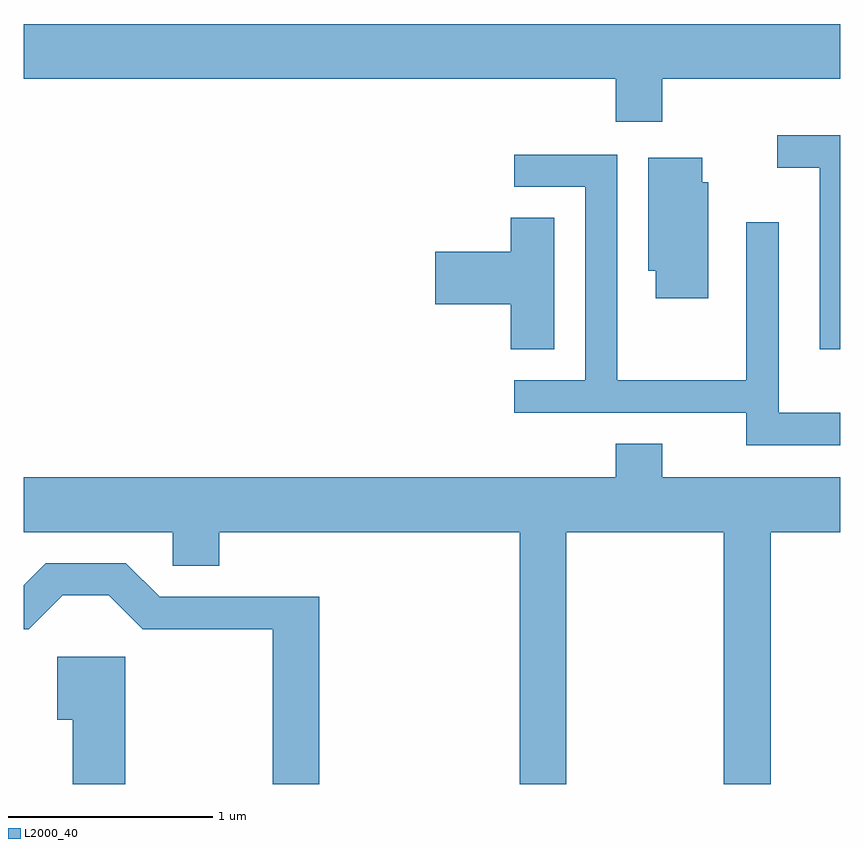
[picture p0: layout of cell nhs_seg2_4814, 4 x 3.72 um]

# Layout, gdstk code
import gdstk
lib = gdstk.Library(unit=1e-6, precision=1e-09)
def P(c, l, *ps):  # polygons
    for p in ps: c.add(gdstk.Polygon(p, *l))
L2000_40 = (2000, 40)

nhs_seg2_4814 = lib.new_cell('nhs_seg2_4814')
P(nhs_seg2_4814, L2000_40, [(330.739,997.256),(331.611,997.256),(331.611,997.524),(327.611,997.524),(327.611,997.256),(330.511,997.256),(330.511,997.046),(330.739,997.046)],
  [(331.611,996.979),(331.303,996.979),(331.303,996.821),(331.511,996.821),(331.511,995.931),(331.611,995.931)],
  [(331.611,995.619),(331.309,995.619),(331.309,996.553),(331.151,996.553),(331.151,995.779),(330.519,995.779),(330.519,996.884),(330.013,996.884),(330.013,996.726),(330.361,996.726),(330.361,995.779),(330.013,995.779),(330.013,995.621),(331.151,995.621),(331.151,995.461),(331.611,995.461)],
  [(330.964,996.749),(330.934,996.749),(330.934,996.869),(330.671,996.869),(330.671,996.316),(330.706,996.316),(330.706,996.181),(330.964,996.181)],
  [(330.209,996.574),(329.996,996.574),(329.996,996.409),(329.626,996.409),(329.626,996.151),(329.996,996.151),(329.996,995.931),(330.209,995.931)],
  [(330.269,995.036),(331.041,995.036),(331.041,993.802),(331.269,993.802),(331.269,995.036),(331.611,995.036),(331.611,995.304),(330.739,995.304),(330.739,995.469),(330.511,995.469),(330.511,995.304),(327.611,995.304),(327.611,995.036),(328.341,995.036),(328.341,994.871),(328.569,994.871),(328.569,995.036),(330.041,995.036),(330.041,993.802),(330.269,993.802)],
  [(329.059,994.719),(328.277,994.719),(328.112,994.884),(327.719,994.884),(327.611,994.776),(327.611,994.561),(327.637,994.561),(327.802,994.726),(328.029,994.726),(328.194,994.561),(328.831,994.561),(328.831,993.802),(329.059,993.802)],
  [(328.109,994.424),(327.776,994.424),(327.776,994.116),(327.851,994.116),(327.851,993.802),(328.109,993.802)])

lib.write_gds('nhs_seg2_4814.gds')
